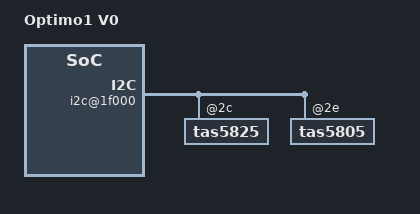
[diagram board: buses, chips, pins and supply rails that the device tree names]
/*
 * Copyright (c) 2021, Sonos, Inc.
 *
 * SPDX-License-Identifier:     GPL-2.0
 *
 * v0	- Optimo1 p1a
 */

/dts-v1/;

#include "optimo_common.dtsi"

/ {
	model = "Optimo1 V0";

        sonos-product-id = <0x01>;

	sonos-platform {
                thermal-mgmt {
			/delete-node/ AMP;
		};
	};

	soc {
		cbus@ffd00000 {
                        i2c@1f000 {
				/* Tweeter 2, woofer 2 are not present on O1.  The tweeter
				   moves from dev-id 3 to dev-id 2.
				   */
				tas5825@2c {	// tweeter 1
					status = "okay";
				};
				tas5805@2e {    // tweeter [O2 - 2, left / O1]
					dev-id = <0x2>;
					/* If this changes here, it also needs to change in optimo_common.dtsi and optimo1sl.dts, preserving 0x34 0x40! */
					reg-init3 = < 0x02 0x31 0x28 0x70 0x33 0x17 0x34 0x40 0x53 0x41 0x54 0x04 0x60 0x01 0x61 0x0b 0x03 0x00 >;
					status = "okay";
				};
			};
		};
		aobus@ff800000 {
			i2c@5000 {
				/delete-node/ is31fl3195@54 ;
			};
		};
	};
};

#include "optimo1_psoc_workaround.dtsi"
